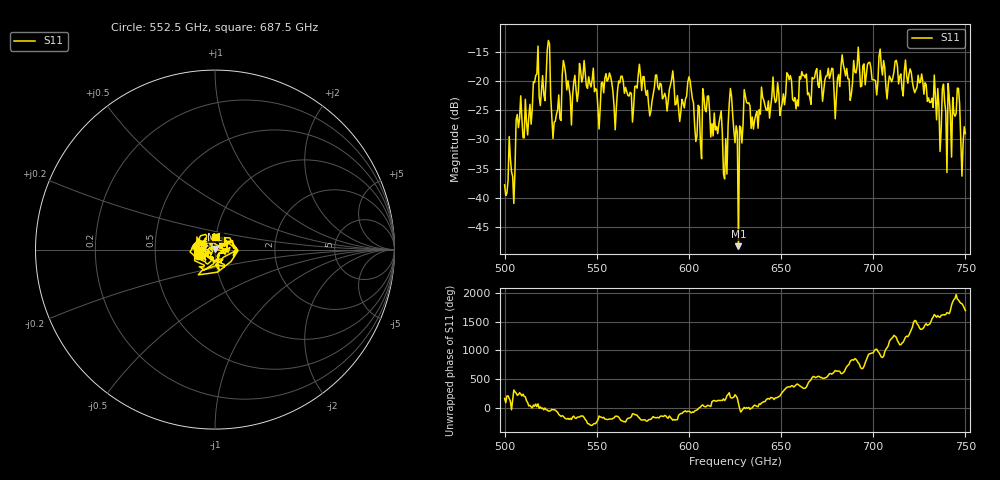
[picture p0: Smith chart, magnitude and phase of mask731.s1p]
!Created with skrf (http://scikit-rf.org).
# GHz S MA R 50.0
!freq magS11 angS11
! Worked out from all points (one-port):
!   401 points, 500 GHz to 750 GHz, reference 50 ohm
!   lowest |S11| = -48.3 dB at 626.9 GHz (marker M1), VSWR 1.01, Z = 50.1 + j0.378 ohm
!   |S11| at or under -10 dB: start of sweep to end of sweep
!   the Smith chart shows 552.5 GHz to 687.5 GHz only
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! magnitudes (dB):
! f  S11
! 500 GHz  -37.8
! 504.4 GHz  -36.4
! 507.5 GHz  -28.0
! 513.8 GHz  -24.0
! 516.9 GHz  -19.0
! 520.6 GHz  -19.0
! 523.8 GHz  -13.0
! 526.9 GHz  -27.0
! 531.2 GHz  -18.9
! 556.2 GHz  -19.7
! 560 GHz  -28.4
! 562.5 GHz  -20.3
! 593.8 GHz  -22.5
! 600.6 GHz  -19.9
! 605.6 GHz  -24.4
! 608.8 GHz  -24.9
! 619.4 GHz  -36.8
! 622.5 GHz  -21.3
! 625 GHz  -30.6
! 626.9 GHz  -48.3
! 631.2 GHz  -23.6
! 635 GHz  -28.2
! 656.2 GHz  -23.1
! 687.5 GHz  -23.3
! 718.8 GHz  -20.4
! 741.2 GHz  -22.9
! 745.6 GHz  -21.2
! 750 GHz  -29.0
